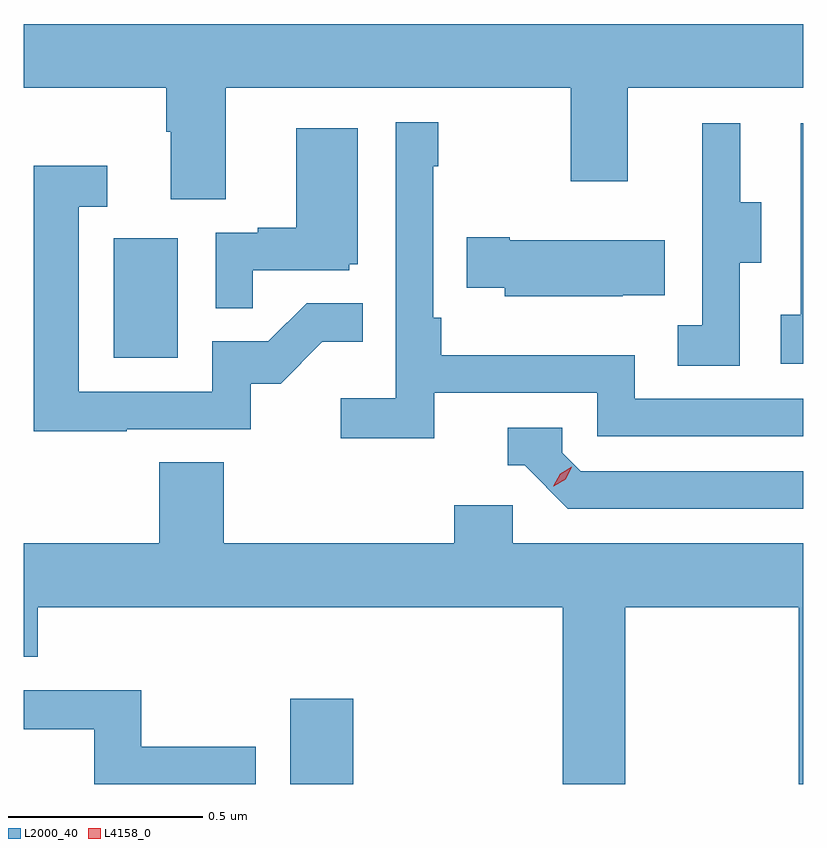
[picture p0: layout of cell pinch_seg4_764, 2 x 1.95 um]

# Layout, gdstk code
import gdstk
lib = gdstk.Library(unit=1e-6, precision=1e-09)
def R(c, l, rs):  # rectangles x0, y0, x1, y1
    for r in rs: c.add(gdstk.rectangle(r[:2], r[2:], *l))
def P(c, l, *ps):  # polygons
    for p in ps: c.add(gdstk.Polygon(p, *l))
L2000_40 = (2000, 40)
L4158_0 = (4158, 0)

pinch_seg4_764 = lib.new_cell('pinch_seg4_764')
R(pinch_seg4_764, L2000_40, [(866.849,828.335,867.01,828.553), (866.396,829.428,866.56,829.735)])
P(pinch_seg4_764, L2000_40, [(866.683,830.12),(867.568,830.12),(867.568,829.881),(867.715,829.881),(867.715,830.12),(868.165,830.12),(868.165,830.284),(866.165,830.284),(866.165,830.12),(866.531,830.12),(866.531,830.008),(866.543,830.008),(866.543,829.834),(866.683,829.834)],
  [(867.218,829.338),(867.636,829.338),(867.636,829.227),(868.165,829.227),(868.165,829.323),(867.732,829.323),(867.732,829.435),(867.236,829.435),(867.236,829.531),(867.216,829.531),(867.216,829.919),(867.229,829.919),(867.229,830.032),(867.12,830.032),(867.12,829.324),(866.979,829.324),(866.979,829.222),(867.218,829.222)],
  [(868.002,829.672),(868.057,829.672),(868.057,829.827),(868.003,829.827),(868.003,830.029),(867.905,830.029),(867.905,829.815),(867.906,829.815),(867.906,829.511),(867.843,829.511),(867.843,829.408),(868.002,829.408)],
  [(868.165,830.029),(868.158,830.029),(868.158,829.538),(868.107,829.538),(868.107,829.413),(868.165,829.413)],
  [(866.753,829.653),(867,829.653),(867,829.668),(867.022,829.668),(867.022,830.017),(866.864,830.017),(866.864,829.762),(866.765,829.762),(866.765,829.749),(866.658,829.749),(866.658,829.555),(866.753,829.555)],
  [(866.429,829.245),(866.748,829.245),(866.748,829.362),(866.824,829.362),(866.931,829.469),(867.035,829.469),(867.035,829.568),(866.891,829.568),(866.793,829.47),(866.649,829.47),(866.649,829.341),(866.307,829.341),(866.307,829.815),(866.38,829.815),(866.38,829.921),(866.191,829.921),(866.191,829.24),(866.429,829.24)],
  [(867.701,829.589),(867.809,829.589),(867.809,829.729),(867.412,829.729),(867.412,829.737),(867.301,829.737),(867.301,829.607),(867.399,829.607),(867.399,829.586),(867.701,829.586)],
  [(868.165,829.137),(867.594,829.137),(867.546,829.185),(867.546,829.248),(867.407,829.248),(867.407,829.152),(867.45,829.152),(867.561,829.041),(868.165,829.041)],
  [(867.708,828.788),(868.153,828.788),(868.153,828.335),(868.165,828.335),(868.165,828.952),(867.42,828.952),(867.42,829.05),(867.269,829.05),(867.269,828.952),(866.678,828.952),(866.678,829.16),(866.513,829.16),(866.513,828.952),(866.165,828.952),(866.165,828.661),(866.201,828.661),(866.201,828.788),(867.548,828.788),(867.548,828.335),(867.708,828.335)],
  [(866.76,828.43),(866.467,828.43),(866.467,828.576),(866.165,828.576),(866.165,828.475),(866.346,828.475),(866.346,828.335),(866.76,828.335)])
P(pinch_seg4_764, L4158_0, [(867.524,829.098),(867.524,829.098),(867.541,829.13),(867.571,829.149),(867.571,829.149),(867.571,829.149),(867.555,829.117),(867.525,829.098)])

lib.write_gds('pinch_seg4_764.gds')
